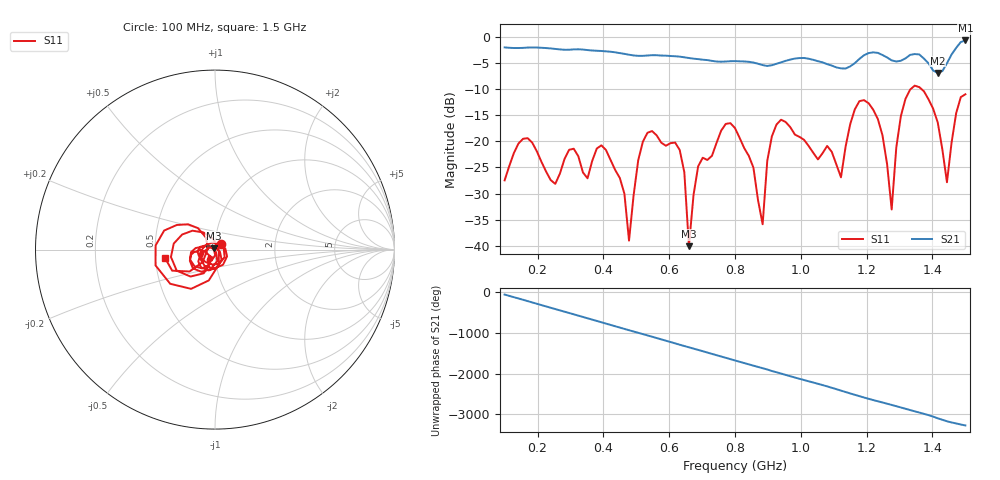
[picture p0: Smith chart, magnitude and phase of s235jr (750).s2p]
! NanoVNA-App
! Date: 2025-09-25 15:10:00
! Start: 100MHz Stop: 1,5GHz Points: 101
! S-Parameter data: F S11 S21 S12 S22
# Hz S RI R 50
!  Frequency  S11_Real  S11_Imag  S21_Real  S21_Imag  S12_Real  S12_Imag  S22_Real  S22_Imag
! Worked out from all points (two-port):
!   101 points, 100 MHz to 1.5 GHz, reference 50 ohm
!   highest |S21| = -0.63 dB at 1.5 GHz (marker M1); lowest = -6.9 dB at 1.416 GHz (marker M2)
!   |S21| within 3 dB of the highest: start of sweep to 609.2 MHz; 1.189 GHz to 1.254 GHz (65.5 MHz wide, 5.36 % of centre) (the widest 2 of 4)
!   lowest |S11| = -40.1 dB at 660 MHz (marker M3), VSWR 1.02, Z = 49.3 + j0.645 ohm
!   |S11| at or under -10 dB: start of sweep to 1.333 GHz; 1.367 GHz to end of sweep
!   S12 and S22 are empty: the file has one direction only
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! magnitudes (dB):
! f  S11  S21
! 100 MHz  -27.5  -2.0
! 170 MHz  -19.4  -2.0
! 338 MHz  -26.0  -2.4
! 408 MHz  -21.6  -2.7
! 478 MHz  -39.0  -3.4
! 520 MHz  -20.1  -3.6
! 576 MHz  -20.2  -3.5
! 632 MHz  -21.6  -3.7
! 660 MHz  -40.1  -4.0
! 688 MHz  -24.8  -4.2
! 800 MHz  -17.4  -4.6
! 884 MHz  -35.9  -5.4
! 926 MHz  -16.8  -5.1
! 1.038 GHz  -22.2  -4.4
! 1.122 GHz  -26.9  -6.0
! 1.206 GHz  -12.7  -3.1
! 1.276 GHz  -33.1  -4.5
! 1.304 GHz  -15.1  -4.5
! 1.332 GHz  -10.1  -3.4
! 1.416 GHz  -16.4  -6.9
! 1.444 GHz  -27.8  -5.0
! 1.5 GHz  -11.0  -0.6
